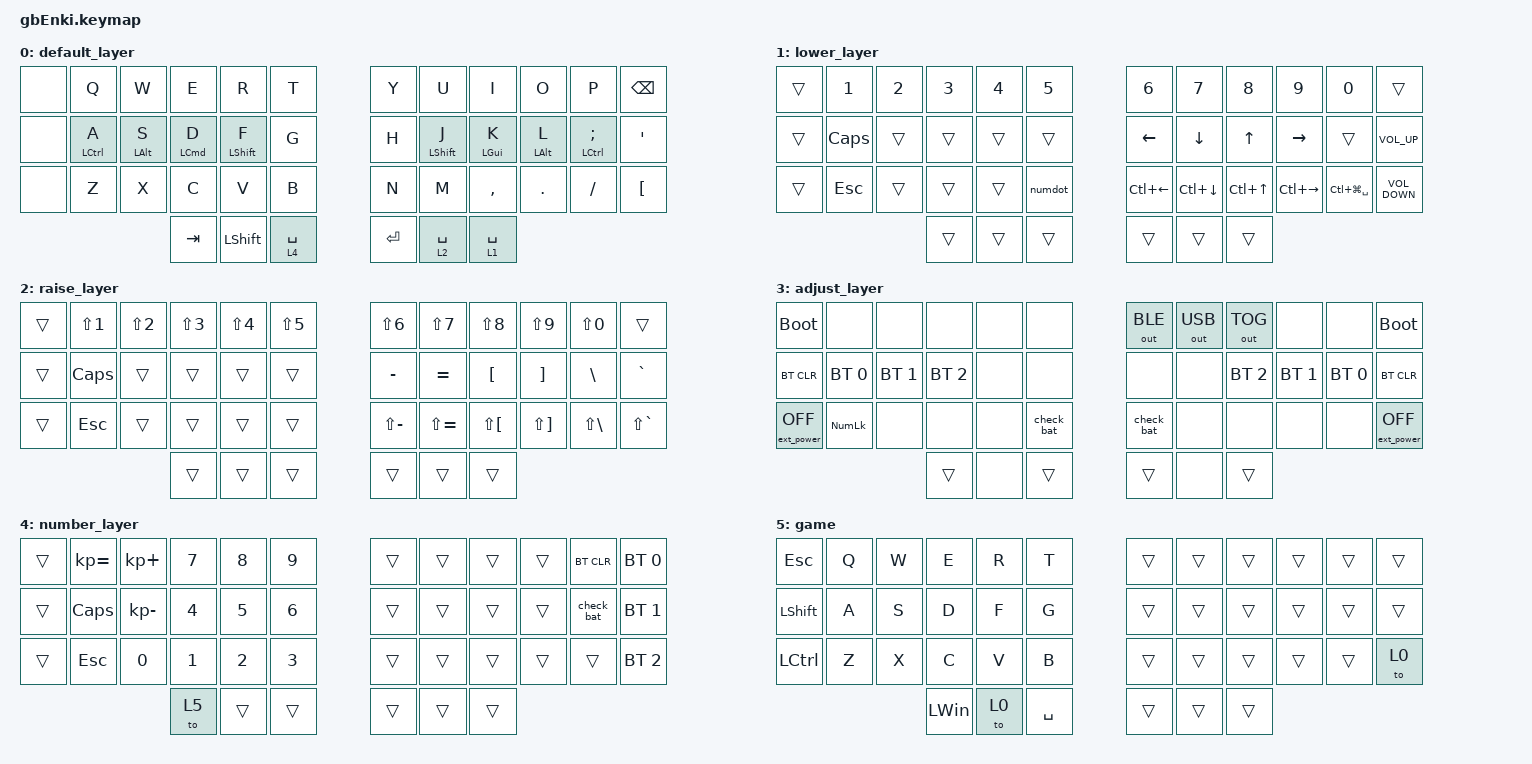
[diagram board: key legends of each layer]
/*
 * Copyright (c) 2020 The ZMK Contributors
 *
 * SPDX-License-Identifier: MIT
 */

#include <behaviors.dtsi>
#include <dt-bindings/zmk/bt.h>
#include <dt-bindings/zmk/ext_power.h>
#include <dt-bindings/zmk/keys.h>
#include <dt-bindings/zmk/outputs.h>

#define DEF 0
#define LWR 1
#define RSE 2
#define ADJ 3

&lt {
};

&mt { flavor = "tap-preferred"; };

/ {
    macros {
        numdot: numdot {
            label = "ZM_numdot";
            compatible = "zmk,behavior-macro";
            #binding-cells = <0>;
            wait-ms = <40>;
            tap-ms = <40>;
            bindings =
                <&macro_press>,
                <&kp LALT>,
                <&macro_tap>,
                <&kp KP_N4 &kp KP_N6>,
                <&macro_release>,
                <&kp LALT>;
        };

        grtsgn: grtsgn {
            label = "ZM_grtsgn";
            compatible = "zmk,behavior-macro";
            #binding-cells = <0>;
            wait-ms = <40>;
            tap-ms = <40>;
            bindings =
                <&macro_press>,
                <&kp LALT>,
                <&macro_tap>,
                <&kp KP_N6 &kp KP_N2>,
                <&macro_release>,
                <&kp LALT>;
        };
    };
};

/ {
    keymap {
        compatible = "zmk,keymap";

        default_layer {
            // ------------------------------------------------------------------------------------------------
            //| LGUI/] |  Q  |  W  |  E  |  R  |  T  |   |  Y  |  U   |  I  |  O  |  P  | RGUI/[ | 
            //| CTRL/` |  A  |  S  |  D  |  F  |  G  |   |  H  |  J   |  K  |  L  |  ;  | CTRL/' |
            //| LALT/\ |  Z  |  X  |  C  |  V  |  B  |   |  N  |  M   |  ,  |  .  |  /  | RALT/- |
            //                             | RSE | SPC | LWR |   | LWR | BKSP | RSE |

            bindings = <
&none  &kp Q        &kp W       &kp E       &kp R           &kp T          &kp Y      &kp U        &kp I        &kp O       &kp P           &kp BACKSPACE
&none  &mt LCTRL A  &mt LALT S  &mt LCMD D  &mt LSHFT F     &kp G          &kp H      &mt LSHFT J  &mt LGUI K   &mt LALT L  &mt LCTRL SEMI  &kp SQT
&none  &kp Z        &kp X       &kp C       &kp V           &kp B          &kp N      &kp M        &kp COMMA    &kp DOT     &kp FSLH        &kp LBKT
                                &kp TAB     &kp LEFT_SHIFT  &lt 4 SPACE    &kp ENTER  &lt 2 SPACE  &lt 1 SPACE
            >;
        };

        lower_layer {
            // -----------------------------------------------------------------------------------------
            //|LGUI/CAPS |  *  |  7 |  8  |  9  |  +  |    |  !  |  @  |  #  |  $  |  %  | RGUI/F1 |
            //|CTRL/MENU |  /  |  4 |  5  |  6  |  -  |    |  ^  |  &  |  *  |  (  |  )  | CTRL/F2 |
            //|  LALT/=  |  0  |  1 |  4  |  3  |  .  |    |  ls |  F4 |  F5 |  F6 |  F7 | RALT/F3 |
            //                      | ADJ | ___ | ___ |    | ___ | ___ | ADJ |

            bindings = <
&trans  &kp N1      &kp N2  &kp NUMBER_3  &kp NUMBER_4  &kp N5     &kp N6        &kp N7        &kp N8      &kp N9         &kp N0             &trans
&trans  &kp CAPS    &trans  &trans        &trans        &trans     &kp LEFT      &kp DOWN      &kp UP      &kp RIGHT      &trans             &kp C_VOLUME_UP
&trans  &kp ESCAPE  &trans  &trans        &trans        &numdot    &kp LC(LEFT)  &kp LC(DOWN)  &kp LC(UP)  &kp LC(RIGHT)  &kp LC(LG(SPACE))  &kp C_VOLUME_DOWN
                            &trans        &trans        &trans     &trans        &trans        &trans
            >;
        };

        raise_layer {
            // -----------------------------------------------------------------------------------------
            //| LGUI |  VOLU  |  PGUP  | PLAY | HOME | ___  |            | ___  | HOME | PLAY| PGUP | VOLU | RGUI |
            //| CTRL |  VOLD  |  LEFT  |  UP  | DOWN | RGHT |            | RGHT | DOWN | UP  | LEFT | VOLD | CTRL | 
            //| LALT |  MUTE  |  PGDN  |  ___ | END  | ___  |            | ___  | END  | ___ | PGDN | MUTE | RALT |
            //                          | ___ | ___  | ADJ  |            | ADJ  | ___  | ___ |

            bindings = <
&trans  &kp LS(N1)    &kp LS(N2)  &kp LS(N3)  &kp LS(N4)  &kp LS(N5)    &kp LS(N6)     &kp LS(N7)     &kp LS(N8)    &kp LS(N9)    &kp LS(N0)    &trans
&trans  &kp CAPSLOCK  &trans      &trans      &trans      &trans        &kp MINUS      &kp EQUAL      &kp LBKT      &kp RBKT      &kp BSLH      &kp GRAVE
&trans  &kp ESCAPE    &trans      &trans      &trans      &trans        &kp LS(MINUS)  &kp LS(EQUAL)  &kp LS(LBKT)  &kp LS(RBKT)  &kp LS(BSLH)  &kp LS(GRAVE)
                                  &trans      &trans      &trans        &trans         &trans         &trans
            >;
        };

        adjust_layer {
            // -----------------------------------------------------------------------------------------
            //| BLDR |     |     |     |     |     |   |     |     |     |     |     | BLDR |
            //| BTCLR| BT0 | BT1 | BT2 | BT3 | BT4 |   | BT4 | BT3 | BT2 | BT1 | BT0 | BTCLR|
            //|pwrOFF|NUMLK|     |     |     |     |   |     |     |     |     |     |      |
            //                   |     |     |     |   |     |     |     |

            bindings = <
&bootloader        &none         &none         &none         &none  &none         &out OUT_BLE  &out OUT_USB  &out OUT_TOG  &none         &none         &bootloader
&bt BT_CLR         &bt BT_SEL 0  &bt BT_SEL 1  &bt BT_SEL 2  &none  &none         &none         &none         &bt BT_SEL 2  &bt BT_SEL 1  &bt BT_SEL 0  &bt BT_CLR
&ext_power EP_OFF  &kp KP_NUM    &none         &none         &none  &check_bat    &check_bat    &none         &none         &none         &none         &ext_power EP_OFF
                                               &trans        &none  &trans        &trans        &none         &trans
            >;
        };

        number_layer {
            bindings = <
&trans  &kp KP_EQUAL  &kp KP_PLUS   &kp N7  &kp N8  &kp N9    &trans  &trans  &trans  &trans  &bt BT_CLR  &bt BT_SEL 0
&trans  &kp CAPS      &kp KP_MINUS  &kp N4  &kp N5  &kp N6    &trans  &trans  &trans  &trans  &check_bat  &bt BT_SEL 1
&trans  &kp ESC       &kp N0        &kp N1  &kp N2  &kp N3    &trans  &trans  &trans  &trans  &trans      &bt BT_SEL 2
                                    &to 5   &trans  &trans    &trans  &trans  &trans
            >;
        };

        game {
            bindings = <
&kp ESCAPE      &kp Q  &kp W  &kp E         &kp R  &kp T        &trans  &trans  &trans  &trans  &trans  &trans
&kp LEFT_SHIFT  &kp A  &kp S  &kp D         &kp F  &kp G        &trans  &trans  &trans  &trans  &trans  &trans
&kp LCTRL       &kp Z  &kp X  &kp C         &kp V  &kp B        &trans  &trans  &trans  &trans  &trans  &to 0
                              &kp LEFT_WIN  &to 0  &kp SPACE    &trans  &trans  &trans
            >;
        };
    };
};
